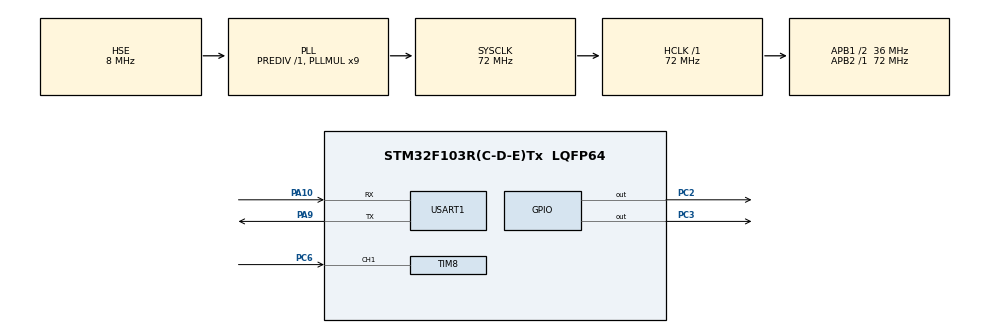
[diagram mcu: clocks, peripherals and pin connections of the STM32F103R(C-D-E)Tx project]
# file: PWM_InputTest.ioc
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Mcu.Family=STM32F1
Mcu.Name=STM32F103R(C-D-E)Tx
Mcu.Package=LQFP64
NVIC.PriorityGroup=NVIC_PRIORITYGROUP_4
NVIC.TIM8_CC_IRQn=true\:0\:0\:false\:false\:true\:true\:true
PA10.Mode=Asynchronous
PA10.Signal=USART1_RX
PA13.Mode=Serial_Wire
PA13.Signal=SYS_JTMS-SWDIO
PA14.Mode=Serial_Wire
PA14.Signal=SYS_JTCK-SWCLK
PA9.Mode=Asynchronous
PA9.Signal=USART1_TX
PC2.Signal=GPIO_Output
PC3.Signal=GPIO_Output
PC6.Signal=S_TIM8_CH1
PD0-OSC_IN.Mode=HSE-External-Oscillator
PD0-OSC_IN.Signal=RCC_OSC_IN
PD1-OSC_OUT.Mode=HSE-External-Oscillator
PD1-OSC_OUT.Signal=RCC_OSC_OUT
ProjectManager.HeapSize=0x200
ProjectManager.StackSize=0x400
ProjectManager.TargetToolchain=SW4STM32
RCC.AHBFreq_Value=72000000
RCC.APB1CLKDivider=RCC_HCLK_DIV2
RCC.APB1Freq_Value=36000000
RCC.APB1TimFreq_Value=72000000
RCC.APB2Freq_Value=72000000
RCC.APB2TimFreq_Value=72000000
RCC.HCLKFreq_Value=72000000
RCC.PLLMUL=RCC_PLL_MUL9
RCC.PLLSourceVirtual=RCC_PLLSOURCE_HSE
RCC.SYSCLKFreq_VALUE=72000000
RCC.SYSCLKSource=RCC_SYSCLKSOURCE_PLLCLK
RCC.USBFreq_Value=72000000
SH.S_TIM8_CH1.0=TIM8_CH1,TriggerSource_TI1FP1
SH.S_TIM8_CH1.1=TIM8_CH1,Input_Capture1_from_TI1
TIM8.AutoReloadPreload=TIM_AUTORELOAD_PRELOAD_ENABLE
TIM8.Channel-Input_Capture1_from_TI1=TIM_CHANNEL_1
TIM8.Channel-Input_Capture2_from_TI1_63=TIM_CHANNEL_2
TIM8.ICPolarity_CH2=TIM_INPUTCHANNELPOLARITY_FALLING
TIM8.TIM_MasterSlaveMode=TIM_MASTERSLAVEMODE_DISABLE
USART1.VirtualMode=VM_ASYNC
VP_TIM8_VS_ControllerModeReset.Mode=Reset Mode
VP_TIM8_VS_indirect_ch1.Mode=Input_Capture2_from_TI1_63
board=custom

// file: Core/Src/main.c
/* USER CODE BEGIN Header */
/**
  ******************************************************************************
  * @file           : main.c
  * @brief          : Main program body
  ******************************************************************************
  * @attention
  *
  * <h2><center>&copy; Copyright (c) 2023 STMicroelectronics.
  * All rights reserved.</center></h2>
  *
  * This software component is licensed by ST under BSD 3-Clause license,
  * the "License"; You may not use this file except in compliance with the
  * License. You may obtain a copy of the License at:
  *                        opensource.org/licenses/BSD-3-Clause
  *
  ******************************************************************************
  */
/* USER CODE END Header */
#include "main.h"
#include "tim.h"
#include "usart.h"
#include "gpio.h"

/* USER CODE BEGIN Includes */
#include "retarget.h"
/* USER CODE END Includes */

/* USER CODE BEGIN PV */
extern uint16_t g_timxchy_pwmin_sta;    /* PWM输入状�?? */
extern uint16_t g_timxchy_pwmin_psc;    /* PWM输入分频系数 */
extern uint32_t g_timxchy_pwmin_hval;   /* PWM的高电平脉宽 */
extern uint32_t g_timxchy_pwmin_cval;   /* PWM的周期宽�? */
/* USER CODE END PV */

void SystemClock_Config(void);

int main(void)
{
  /* USER CODE BEGIN 1 */
    uint8_t t = 0;
    double ht, ct, f, tpsc;
  /* USER CODE END 1 */

  /* MCU Configuration--------------------------------------------------------*/

  /* Reset of all peripherals, Initializes the Flash interface and the Systick. */
  HAL_Init();

  /* USER CODE BEGIN Init */
    RetargetInit(&huart1);
  /* USER CODE END Init */

  /* Configure the system clock */
  SystemClock_Config();

  /* Initialize all configured peripherals */
  MX_GPIO_Init();
  MX_USART1_UART_Init();
  MX_TIM8_Init();
  /* USER CODE BEGIN 2 */
    HAL_TIM_IC_Start_IT(&htim8, TIM_CHANNEL_1);
    HAL_TIM_IC_Start(&htim8, TIM_CHANNEL_2);
    printf("hello world");
  /* USER CODE END 2 */

  /* Infinite loop */
  /* USER CODE BEGIN WHILE */
  while (1)
  {
      HAL_Delay(10);
      t++;

    /* USER CODE END WHILE */

    /* USER CODE BEGIN 3 */
      if (t >= 20)    /* �?200ms输出�?次结�?,并闪烁LED0,提示程序运行 */
      {
          if (g_timxchy_pwmin_sta)    /* 捕获了一次数�? */
          {
              printf("\r\n");                                     /* 输出�?,另起�?�? */
              printf("PWM PSC  :%d\r\n", g_timxchy_pwmin_psc);    /* 打印分频系数 */
              printf("PWM Hight:%lu\r\n", g_timxchy_pwmin_hval);   /* 打印高电平脉�? */
              printf("PWM Cycle:%d\r\n", g_timxchy_pwmin_cval);   /* 打印周期 */
              printf("PWM duty:%.3f%%\r\n", (double)g_timxchy_pwmin_hval / (double) g_timxchy_pwmin_cval * 100);
              tpsc = ((double)g_timxchy_pwmin_psc + 1) / 72;      /* 得到PWM采样时钟周期时间 */
              ht = g_timxchy_pwmin_hval * tpsc;                   /* 计算高电平时�? */
              ct = g_timxchy_pwmin_cval * tpsc;                   /* 计算周期长度 */
              f = (1 / ct) * 1000000;                             /* 计算频率 */
              printf("PWM Hight time:%.3fus\r\n", ht);            /* 打印高电平脉宽长�? */
              printf("PWM Cycle time:%.3fus\r\n", ct);            /* 打印周期时间长度 */
              printf("PWM Frequency :%.3fHz\r\n", f);             /* 打印频率 */
              atim_timx_pwmin_chy_restart(); /* 重启PWM输入�?�? */
          }

          t = 0;
      }
  }
  /* USER CODE END 3 */
}

void SystemClock_Config(void)
{
  RCC_OscInitTypeDef RCC_OscInitStruct = {0};
  RCC_ClkInitTypeDef RCC_ClkInitStruct = {0};

  /** Initializes the RCC Oscillators according to the specified parameters
  * in the RCC_OscInitTypeDef structure.
  */
  RCC_OscInitStruct.OscillatorType = RCC_OSCILLATORTYPE_HSE;
  RCC_OscInitStruct.HSEState = RCC_HSE_ON;
  RCC_OscInitStruct.HSEPredivValue = RCC_HSE_PREDIV_DIV1;
  RCC_OscInitStruct.HSIState = RCC_HSI_ON;
  RCC_OscInitStruct.PLL.PLLState = RCC_PLL_ON;
  RCC_OscInitStruct.PLL.PLLSource = RCC_PLLSOURCE_HSE;
  RCC_OscInitStruct.PLL.PLLMUL = RCC_PLL_MUL9;
  if (HAL_RCC_OscConfig(&RCC_OscInitStruct) != HAL_OK)
  {
    Error_Handler();
  }
  /** Initializes the CPU, AHB and APB buses clocks
  */
  RCC_ClkInitStruct.ClockType = RCC_CLOCKTYPE_HCLK|RCC_CLOCKTYPE_SYSCLK
                              |RCC_CLOCKTYPE_PCLK1|RCC_CLOCKTYPE_PCLK2;
  RCC_ClkInitStruct.SYSCLKSource = RCC_SYSCLKSOURCE_PLLCLK;
  RCC_ClkInitStruct.AHBCLKDivider = RCC_SYSCLK_DIV1;
  RCC_ClkInitStruct.APB1CLKDivider = RCC_HCLK_DIV2;
  RCC_ClkInitStruct.APB2CLKDivider = RCC_HCLK_DIV1;

  if (HAL_RCC_ClockConfig(&RCC_ClkInitStruct, FLASH_LATENCY_2) != HAL_OK)
  {
    Error_Handler();
  }
}

void Error_Handler(void)
{
  __disable_irq();
  while (1)
  {
  }
}

/************************ (C) COPYRIGHT STMicroelectronics *****END OF FILE****/
